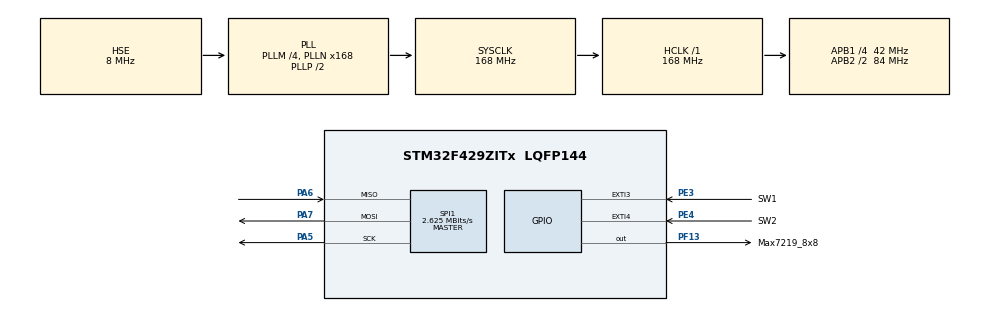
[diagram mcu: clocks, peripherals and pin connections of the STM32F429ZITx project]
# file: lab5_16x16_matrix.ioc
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FREERTOS.Tasks01=defaultTask,24,128,StartDefaultTask,Default,NULL,Dynamic,NULL,NULL
Mcu.Family=STM32F4
Mcu.Name=STM32F429ZITx
Mcu.Package=LQFP144
NVIC.EXTI3_IRQn=true\:5\:0\:false\:false\:true\:true\:true\:true\:true
NVIC.EXTI4_IRQn=true\:5\:0\:false\:false\:true\:true\:true\:true\:true
NVIC.PriorityGroup=NVIC_PRIORITYGROUP_4
PA13.Mode=Serial_Wire
PA13.Signal=SYS_JTMS-SWDIO
PA14.Mode=Serial_Wire
PA14.Signal=SYS_JTCK-SWCLK
PA5.Mode=Full_Duplex_Master
PA5.Signal=SPI1_SCK
PA6.Mode=Full_Duplex_Master
PA6.Signal=SPI1_MISO
PA7.Mode=Full_Duplex_Master
PA7.Signal=SPI1_MOSI
PC14/OSC32_IN.Mode=LSE-External-Oscillator
PC14/OSC32_IN.Signal=RCC_OSC32_IN
PC15/OSC32_OUT.Mode=LSE-External-Oscillator
PC15/OSC32_OUT.Signal=RCC_OSC32_OUT
PE3.GPIO_Label=SW1
PE3.Signal=GPXTI3
PE4.GPIO_Label=SW2
PE4.Signal=GPXTI4
PF13.GPIO_Label=Max7219_8x8
PF13.Signal=GPIO_Output
PH0/OSC_IN.Mode=HSE-External-Oscillator
PH0/OSC_IN.Signal=RCC_OSC_IN
PH1/OSC_OUT.Mode=HSE-External-Oscillator
PH1/OSC_OUT.Signal=RCC_OSC_OUT
ProjectManager.HeapSize=0x200
ProjectManager.StackSize=0x400
ProjectManager.TargetToolchain=MDK-ARM V5.32
RCC.48MHZClocksFreq_Value=48000000
RCC.AHBFreq_Value=168000000
RCC.APB1CLKDivider=RCC_HCLK_DIV4
RCC.APB1Freq_Value=42000000
RCC.APB1TimFreq_Value=84000000
RCC.APB2CLKDivider=RCC_HCLK_DIV2
RCC.APB2Freq_Value=84000000
RCC.APB2TimCLKDivider=2
RCC.APB2TimFreq_Value=168000000
RCC.CortexFreq_Value=168000000
RCC.HCLKFreq_Value=168000000
RCC.HSE_VALUE=8000000
RCC.HSI_VALUE=16000000
RCC.PLLM=4
RCC.PLLMUL=RCC_PLL_MUL9
RCC.PLLN=168
RCC.PLLQ=7
RCC.PLLSourceVirtual=RCC_PLLSOURCE_HSE
RCC.PRESCALERUSB=RCC_USBCLKSOURCE_PLL_DIV1_5
RCC.SYSCLKFreq_VALUE=168000000
RCC.SYSCLKSource=RCC_SYSCLKSOURCE_PLLCLK
RCC.SYSCLKSourceVirtual=RCC_SYSCLKSOURCE_PLLCLK
RCC.USBFreq_Value=48000000
RCC.VCOOutputFreq_Value=336000000
SPI1.BaudRatePrescaler=SPI_BAUDRATEPRESCALER_32
SPI1.CalculateBaudRate=2.625 MBits/s
SPI1.Direction=SPI_DIRECTION_2LINES
SPI1.Mode=SPI_MODE_MASTER
SPI1.VirtualType=VM_MASTER
VP_FREERTOS_VS_CMSIS_V2.Mode=CMSIS_V2
board=NUCLEO-F429ZI

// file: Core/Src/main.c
/* USER CODE BEGIN Header */
/**
  ******************************************************************************
  * @file           : main.c
  * @brief          : Main program body
  ******************************************************************************
  * @attention
  *
  * Copyright (c) 2024 STMicroelectronics.
  * All rights reserved.
  *
  * This software is licensed under terms that can be found in the LICENSE file
  * in the root directory of this software component.
  * If no LICENSE file comes with this software, it is provided AS-IS.
  *
  ******************************************************************************
  */
/* USER CODE END Header */
#include "main.h"
#include "cmsis_os.h"
#include "spi.h"
#include "gpio.h"

/* USER CODE BEGIN Includes */
#include "FreeRTOS.h"
#include "queue.h"
#include "task.h"
#include "max7219.h"
/* USER CODE END Includes */

/* USER CODE BEGIN PV */
//matrix
uint8_t clean[32] = {0x00,0x00,0x00,0x00,0x00,0x00,0x00,0x00,
												0x00,0x00,0x00,0x00,0x00,0x00,0x00,0x00,
												0x00,0x00,0x00,0x00,0x00,0x00,0x00,0x00,
												0x00,0x00,0x00,0x00,0x00,0x00,0x00,0x00,
};
uint8_t name[32] = {0x04,0x40,0x1F,0xF8,0x04,0x40,0x3F,0xF8,
										0x24,0x48,0x3F,0xF8,0x24,0x48,0x3F,0xF8,
										0x00,0x00,0x00,0x00,0x0F,0xE0,0x08,0x20,
										0x0F,0xE0,0x08,0x20,0x0F,0xE0,0x00,0x00,
};

uint8_t YunTech_Logo[6][32] = {

	{
		0x00,0x00,0x00,0x20,0x1F,0xF0,0x41,0x04,
		0x7F,0xFE,0x41,0x04,0x99,0x30,0x05,0x40,
		0x19,0x30,0x00,0x00,0x1F,0xF0,0x00,0x04,
		0xFF,0xFE,0x04,0x20,0x3F,0xF8,0x10,0x08
	},

	{
		/*
		0x00, 0x00 > top left, top right
		0x36, 0x70 > bottom left, bottom right
		*/
		//top
		0x00,0x00,0x18,0x30,0x10,0x20,0x14,0x24,
		0xFE,0xFE,0x10,0x20,0x30,0x60,0x38,0x70,
		//bottom
		0x36,0x70,0x52,0xA8,0x50,0xAC,0x91,0x26,
		0x12,0x24,0x10,0x20,0x10,0x20,0x10,0x20
	},

	{
		0x00,0x00,0x1C,0x18,0xF1,0x10,0x10,0xD0,
		0x14,0x50,0xFE,0x10,0x11,0x10,0x30,0xD0,
		0x38,0x50,0x54,0x14,0x50,0x1E,0x93,0xF0,
		0x10,0x10,0x10,0x10,0x10,0x10,0x10,0x10
	},

	{
		0x00,0x00,0x30,0x30,0x20,0x20,0x20,0x24,
		0xFB,0xFE,0x20,0x20,0x20,0x28,0x29,0xFC,
		0x30,0x88,0xE0,0x88,0xA0,0x50,0x20,0x50,
		0x20,0x20,0x20,0x50,0xE0,0x88,0x43,0x06
	},

	{
		0x00,0x00,0x01,0x80,0x01,0x00,0x01,0x00,
		0x01,0x04,0xFF,0xFE,0x01,0x00,0x01,0x00,
		0x03,0x00,0x02,0x80,0x04,0x40,0x04,0x40,
		0x08,0x20,0x10,0x10,0x20,0x0E,0xC0,0x04
	},

	{
		0x00,0x00,0x2A,0x88,0x31,0x3C,0x22,0x88,
		0x38,0x38,0x22,0x88,0x39,0x38,0x22,0x88,
		0x7F,0xFE,0x40,0x04,0x8F,0xE8,0x00,0x40,
		0x7F,0xFC,0x00,0x80,0x03,0x80,0x01,0x00
	}
};

uint8_t Max7219_data[4];
uint8_t Max7219_data1[4];
uint8_t Max7219_data2[4];

TaskHandle_t handleMatrix;
QueueHandle_t queueSwitch;

/* USER CODE END PV */

void SystemClock_Config(void);
void MX_FREERTOS_Init(void);

/* USER CODE BEGIN 0 */
void taskMatrix(void *pvParm){
	uint8_t displayMode = 9;

	while(1){
		xQueueReceiveFromISR(queueSwitch, &displayMode, NULL);
		switch(displayMode){
				case 0:{
					for(int l = 0; l < 6; l++)//total 6 words
					{
						for(int i = 0; i < 8; i++)//one step one line > so run 8 times
						{
							Max7219_data[0] = YunTech_Logo[l][i*2];//top left
							Max7219_data[1] = YunTech_Logo[l][i*2 + 1];//top right
							Max7219_data[2] = YunTech_Logo[l][i*2 + 16];//bottom left
							Max7219_data[3] = YunTech_Logo[l][i*2 + 17];//bottom right
							Write_Matrix(i + 1, Max7219_data);
						}
						vTaskDelay(1000);
					}
					break;
				}

				case 1:{
						for(int i = 0; i < 8; i++)//one step one line > so run 8 times
						{
							Max7219_data1[0] = name[i*2];//top left
							Max7219_data1[1] = name[i*2 + 1];//top right
							Max7219_data1[2] = name[i*2 + 16];//bottom left
							Max7219_data1[3] = name[i*2 + 17];//bottom right
							Write_Matrix(i + 1, Max7219_data1);
						}
					break;
				}

				default:

					for(int i = 0; i < 8; i++)//one step one line > so run 8 times
					{
						Max7219_data2[0] = clean[i*2];//top left
						Max7219_data2[1] = clean[i*2 + 1];//top right
						Max7219_data2[2] = clean[i*2 + 16];//bottom left
						Max7219_data2[3] = clean[i*2 + 17];//bottom right
						Write_Matrix(i + 1, Max7219_data2);
					}
					break;
			}

	}
}
void HAL_GPIO_EXTI_Callback(uint16_t GPIO_Pin){
	uint8_t mode = 0;

	switch(GPIO_Pin){
		//sw1 PE3
		case GPIO_PIN_3:
		{
			if(HAL_GPIO_ReadPin(SW1_GPIO_Port, SW1_Pin) == 1){
				mode = 0;
				//printf("display mode:default \r\n");
				xQueueSendFromISR(queueSwitch, &mode, NULL);
			}
			break;
		}

		//sw2 PE4
		case GPIO_PIN_4:
		{
			if(HAL_GPIO_ReadPin(SW2_GPIO_Port, SW2_Pin) == 1){
				mode = 1;
				//printf("display mode:student id \r\n");
				xQueueSendFromISR(queueSwitch, &mode, NULL);
			}
			break;
		}

		default:
			mode = 0;
			xQueueSendFromISR(queueSwitch, &mode, NULL);
			//printf("unknown irq happend \r\n");
			break;
	}
}
/* USER CODE END 0 */

int main(void)
{

  /* MCU Configuration--------------------------------------------------------*/

  /* Reset of all peripherals, Initializes the Flash interface and the Systick. */
  HAL_Init();

  /* Configure the system clock */
  SystemClock_Config();

  /* Initialize all configured peripherals */
  MX_GPIO_Init();
  MX_SPI1_Init();
  /* USER CODE BEGIN 2 */
	Init_MAX7219_8x8();
	queueSwitch = xQueueCreate(3, sizeof(uint8_t));
	xTaskCreate(taskMatrix, "Matrix", 512, NULL, 1, &handleMatrix);
  vTaskStartScheduler();
  /* USER CODE END 2 */

  /* Init scheduler */
  osKernelInitialize();  /* Call init function for freertos objects (in freertos.c) */
  MX_FREERTOS_Init();

  /* Start scheduler */
  osKernelStart();

  /* We should never get here as control is now taken by the scheduler */
  /* Infinite loop */
  while (1)
  {

  }
}

void SystemClock_Config(void)
{
  RCC_OscInitTypeDef RCC_OscInitStruct = {0};
  RCC_ClkInitTypeDef RCC_ClkInitStruct = {0};

  /** Configure the main internal regulator output voltage
  */
  __HAL_RCC_PWR_CLK_ENABLE();
  __HAL_PWR_VOLTAGESCALING_CONFIG(PWR_REGULATOR_VOLTAGE_SCALE1);

  /** Initializes the RCC Oscillators according to the specified parameters
  * in the RCC_OscInitTypeDef structure.
  */
  RCC_OscInitStruct.OscillatorType = RCC_OSCILLATORTYPE_HSE;
  RCC_OscInitStruct.HSEState = RCC_HSE_ON;
  RCC_OscInitStruct.PLL.PLLState = RCC_PLL_ON;
  RCC_OscInitStruct.PLL.PLLSource = RCC_PLLSOURCE_HSE;
  RCC_OscInitStruct.PLL.PLLM = 4;
  RCC_OscInitStruct.PLL.PLLN = 168;
  RCC_OscInitStruct.PLL.PLLP = RCC_PLLP_DIV2;
  RCC_OscInitStruct.PLL.PLLQ = 7;
  if (HAL_RCC_OscConfig(&RCC_OscInitStruct) != HAL_OK)
  {
    Error_Handler();
  }

  /** Initializes the CPU, AHB and APB buses clocks
  */
  RCC_ClkInitStruct.ClockType = RCC_CLOCKTYPE_HCLK|RCC_CLOCKTYPE_SYSCLK
                              |RCC_CLOCKTYPE_PCLK1|RCC_CLOCKTYPE_PCLK2;
  RCC_ClkInitStruct.SYSCLKSource = RCC_SYSCLKSOURCE_PLLCLK;
  RCC_ClkInitStruct.AHBCLKDivider = RCC_SYSCLK_DIV1;
  RCC_ClkInitStruct.APB1CLKDivider = RCC_HCLK_DIV4;
  RCC_ClkInitStruct.APB2CLKDivider = RCC_HCLK_DIV2;

  if (HAL_RCC_ClockConfig(&RCC_ClkInitStruct, FLASH_LATENCY_5) != HAL_OK)
  {
    Error_Handler();
  }
}

void Error_Handler(void)
{
  __disable_irq();
  while (1)
  {
  }
}
